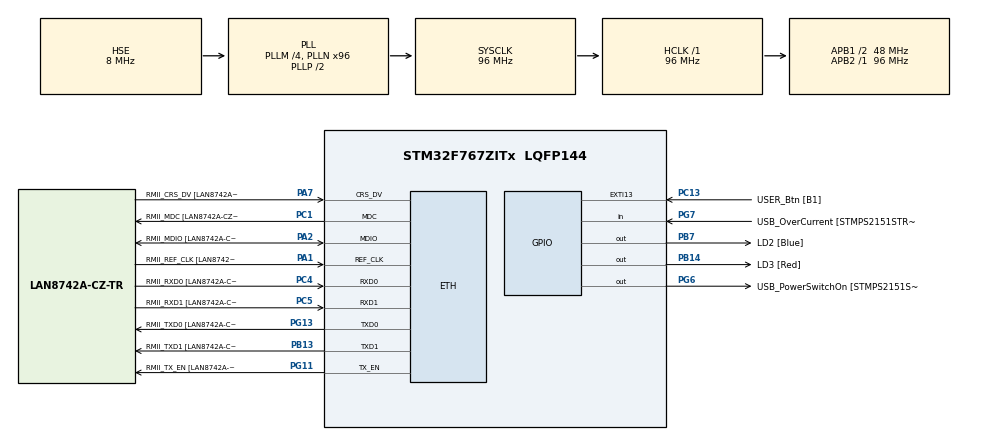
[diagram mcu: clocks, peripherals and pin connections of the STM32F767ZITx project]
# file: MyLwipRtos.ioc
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ETH.MediaInterface=HAL_ETH_RMII_MODE
FREERTOS.Tasks01=defaultTask,24,128,StartDefaultTask,Default,NULL,Dynamic,NULL,NULL
FREERTOS.configUSE_NEWLIB_REENTRANT=1
LWIP.BSP.number=1
LWIP.IP_ADDRESS=192.168.000.132
LWIP.LWIP_DHCP=0
LWIP.NETMASK_ADDRESS=255.255.255.000
LWIP.Version=v2.1.2_Cube
LWIP0.BSP.STBoard=false
LWIP0.BSP.api=BSP_COMPONENT_DRIVER
LWIP0.BSP.component=LAN8742
LWIP0.BSP.instance=LAN8742
LWIP0.BSP.name=Driver_PHY
LWIP0.BSP.semaphore=S_LAN8742
LWIP0.BSP.solution=LAN8742
Mcu.Family=STM32F7
Mcu.Name=STM32F767ZITx
Mcu.Package=LQFP144
NVIC.ETH_IRQn=true\:5\:0\:false\:false\:true\:true\:false\:true\:true
NVIC.PriorityGroup=NVIC_PRIORITYGROUP_4
NVIC.TIM6_DAC_IRQn=true\:15\:0\:false\:false\:true\:false\:false\:true\:true
NVIC.TimeBase=TIM6_DAC_IRQn
NVIC.TimeBaseIP=TIM6
PA1.GPIO_Label=RMII_REF_CLK [LAN8742A-CZ-TR_REFCLK0]
PA1.Mode=RMII
PA1.Signal=ETH_REF_CLK
PA10.GPIO_Label=USB_ID
PA10.Signal=USB_OTG_FS_ID
PA11.GPIO_Label=USB_DM
PA11.Signal=USB_OTG_FS_DM
PA12.GPIO_Label=USB_DP
PA12.Signal=USB_OTG_FS_DP
PA13.GPIO_Label=TMS
PA13.Mode=Serial_Wire
PA13.Signal=SYS_JTMS-SWDIO
PA14.GPIO_Label=TCK
PA14.Mode=Serial_Wire
PA14.Signal=SYS_JTCK-SWCLK
PA2.GPIO_Label=RMII_MDIO [LAN8742A-CZ-TR_MDIO]
PA2.Mode=RMII
PA2.Signal=ETH_MDIO
PA7.GPIO_Label=RMII_CRS_DV [LAN8742A-CZ-TR_CRS_DV]
PA7.Mode=RMII
PA7.Signal=ETH_CRS_DV
PA8.GPIO_Label=USB_SOF [TP1]
PA8.Signal=USB_OTG_FS_SOF
PA9.GPIO_Label=USB_VBUS
PA9.Signal=USB_OTG_FS_VBUS
PB13.GPIO_Label=RMII_TXD1 [LAN8742A-CZ-TR_TXD1]
PB13.Mode=RMII
PB13.Signal=ETH_TXD1
PB14.GPIO_Label=LD3 [Red]
PB14.Signal=GPIO_Output
PB3.GPIO_Label=SWO
PB3.Signal=SYS_JTDO-SWO
PB7.GPIO_Label=LD2 [Blue]
PB7.Signal=GPIO_Output
PC1.GPIO_Label=RMII_MDC [LAN8742A-CZ-TR_MDC]
PC1.Mode=RMII
PC1.Signal=ETH_MDC
PC13.GPIO_Label=USER_Btn [B1]
PC13.Signal=GPXTI13
PC14/OSC32_IN.Mode=LSE-External-Oscillator
PC14/OSC32_IN.Signal=RCC_OSC32_IN
PC15/OSC32_OUT.Mode=LSE-External-Oscillator
PC15/OSC32_OUT.Signal=RCC_OSC32_OUT
PC4.GPIO_Label=RMII_RXD0 [LAN8742A-CZ-TR_RXD0]
PC4.Mode=RMII
PC4.Signal=ETH_RXD0
PC5.GPIO_Label=RMII_RXD1 [LAN8742A-CZ-TR_RXD1]
PC5.Mode=RMII
PC5.Signal=ETH_RXD1
PD8.GPIO_Label=STLK_RX [STM32F103CBT6_PA3]
PD8.Signal=USART3_TX
PD9.GPIO_Label=STLK_TX [STM32F103CBT6_PA2]
PD9.Signal=USART3_RX
PG11.GPIO_Label=RMII_TX_EN [LAN8742A-CZ-TR_TXEN]
PG11.Mode=RMII
PG11.Signal=ETH_TX_EN
PG13.GPIO_Label=RMII_TXD0 [LAN8742A-CZ-TR_TXD0]
PG13.Mode=RMII
PG13.Signal=ETH_TXD0
PG6.GPIO_Label=USB_PowerSwitchOn [STMPS2151STR_EN]
PG6.Signal=GPIO_Output
PG7.GPIO_Label=USB_OverCurrent [STMPS2151STR_FAULT]
PG7.Signal=GPIO_Input
PH0/OSC_IN.GPIO_Label=MCO [STM32F103CBT6_PA8]
PH0/OSC_IN.Mode=HSE-External-Oscillator
PH0/OSC_IN.Signal=RCC_OSC_IN
PH1/OSC_OUT.Mode=HSE-External-Oscillator
PH1/OSC_OUT.Signal=RCC_OSC_OUT
ProjectManager.HeapSize=0x200
ProjectManager.StackSize=0x400
ProjectManager.TargetToolchain=STM32CubeIDE
RCC.48MHZClocksFreq_Value=24000000
RCC.AHBFreq_Value=96000000
RCC.APB1CLKDivider=RCC_HCLK_DIV2
RCC.APB1Freq_Value=48000000
RCC.APB1TimFreq_Value=96000000
RCC.APB2Freq_Value=96000000
RCC.APB2TimFreq_Value=96000000
RCC.CortexFreq_Value=96000000
RCC.HCLKFreq_Value=96000000
RCC.HSE_VALUE=8000000
RCC.HSI_VALUE=16000000
RCC.PLLM=4
RCC.PLLMUL=RCC_PLL_MUL9
RCC.PLLN=96
RCC.PLLQ=4
RCC.PLLSourceVirtual=RCC_PLLSOURCE_HSE
RCC.PRESCALERUSB=RCC_USBCLKSOURCE_PLL_DIV1_5
RCC.SYSCLKFreq_VALUE=96000000
RCC.SYSCLKSource=RCC_SYSCLKSOURCE_PLLCLK
RCC.SYSCLKSourceVirtual=RCC_SYSCLKSOURCE_PLLCLK
RCC.USBFreq_Value=48000000
RCC.VCOOutputFreq_Value=192000000
VP_FREERTOS_VS_CMSIS_V2.Mode=CMSIS_V2
VP_LWIP_VS_Enabled.Mode=Enabled
VP_SYS_VS_tim6.Mode=TIM6
board=NUCLEO-F767ZI

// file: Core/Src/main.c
/* USER CODE BEGIN Header */
/**
  ******************************************************************************
  * @file           : main.c
  * @brief          : Main program body
  ******************************************************************************
  * @attention
  *
  * Copyright (c) 2022 STMicroelectronics.
  * All rights reserved.
  *
  * This software is licensed under terms that can be found in the LICENSE file
  * in the root directory of this software component.
  * If no LICENSE file comes with this software, it is provided AS-IS.
  *
  ******************************************************************************
  */
/* USER CODE END Header */
#include "main.h"
#include "cmsis_os.h"
#include "lwip.h"

/* USER CODE BEGIN Includes */
#include <udp.h>
#include <string.h>
#include <SEGGER_SYSVIEW.h>

/* USER CODE END Includes */

/* USER CODE BEGIN PTD */
extern struct netif gnetif;
/* USER CODE END PTD */

/* Definitions for defaultTask */
osThreadId_t defaultTaskHandle;
const osThreadAttr_t defaultTask_attributes = {
  .name = "defaultTask",
  .stack_size = 128 * 4,
  .priority = (osPriority_t) osPriorityNormal,
};

void SystemClock_Config(void);
static void MX_GPIO_Init(void);
void StartDefaultTask(void *argument);

int main(void)
{

  /* MCU Configuration--------------------------------------------------------*/

  /* Reset of all peripherals, Initializes the Flash interface and the Systick. */
  HAL_Init();

  /* Configure the system clock */
  SystemClock_Config();

  /* Initialize all configured peripherals */
  MX_GPIO_Init();
  /* USER CODE BEGIN 2 */
  MX_LWIP_Init();
  SEGGER_SYSVIEW_Conf();
  /* USER CODE END 2 */

  /* Init scheduler */
  osKernelInitialize();

  /* Create the thread(s) */
  /* creation of defaultTask */
  defaultTaskHandle = osThreadNew(StartDefaultTask, NULL, &defaultTask_attributes);

  /* Start scheduler */
  osKernelStart();

  /* We should never get here as control is now taken by the scheduler */
  /* Infinite loop */
  while (1)
  {

  }
}

void SystemClock_Config(void)
{
  RCC_OscInitTypeDef RCC_OscInitStruct = {0};
  RCC_ClkInitTypeDef RCC_ClkInitStruct = {0};

  /** Configure LSE Drive Capability
  */
  HAL_PWR_EnableBkUpAccess();

  /** Configure the main internal regulator output voltage
  */
  __HAL_RCC_PWR_CLK_ENABLE();
  __HAL_PWR_VOLTAGESCALING_CONFIG(PWR_REGULATOR_VOLTAGE_SCALE3);

  /** Initializes the RCC Oscillators according to the specified parameters
  * in the RCC_OscInitTypeDef structure.
  */
  RCC_OscInitStruct.OscillatorType = RCC_OSCILLATORTYPE_HSE;
  RCC_OscInitStruct.HSEState = RCC_HSE_ON;
  RCC_OscInitStruct.PLL.PLLState = RCC_PLL_ON;
  RCC_OscInitStruct.PLL.PLLSource = RCC_PLLSOURCE_HSE;
  RCC_OscInitStruct.PLL.PLLM = 4;
  RCC_OscInitStruct.PLL.PLLN = 96;
  RCC_OscInitStruct.PLL.PLLP = RCC_PLLP_DIV2;
  RCC_OscInitStruct.PLL.PLLQ = 4;
  RCC_OscInitStruct.PLL.PLLR = 2;
  if (HAL_RCC_OscConfig(&RCC_OscInitStruct) != HAL_OK)
  {
    Error_Handler();
  }

  /** Activate the Over-Drive mode
  */
  if (HAL_PWREx_EnableOverDrive() != HAL_OK)
  {
    Error_Handler();
  }

  /** Initializes the CPU, AHB and APB buses clocks
  */
  RCC_ClkInitStruct.ClockType = RCC_CLOCKTYPE_HCLK|RCC_CLOCKTYPE_SYSCLK
                              |RCC_CLOCKTYPE_PCLK1|RCC_CLOCKTYPE_PCLK2;
  RCC_ClkInitStruct.SYSCLKSource = RCC_SYSCLKSOURCE_PLLCLK;
  RCC_ClkInitStruct.AHBCLKDivider = RCC_SYSCLK_DIV1;
  RCC_ClkInitStruct.APB1CLKDivider = RCC_HCLK_DIV2;
  RCC_ClkInitStruct.APB2CLKDivider = RCC_HCLK_DIV1;

  if (HAL_RCC_ClockConfig(&RCC_ClkInitStruct, FLASH_LATENCY_3) != HAL_OK)
  {
    Error_Handler();
  }
}

static void MX_GPIO_Init(void)
{
  GPIO_InitTypeDef GPIO_InitStruct = {0};

  /* GPIO Ports Clock Enable */
  __HAL_RCC_GPIOC_CLK_ENABLE();
  __HAL_RCC_GPIOH_CLK_ENABLE();
  __HAL_RCC_GPIOA_CLK_ENABLE();
  __HAL_RCC_GPIOB_CLK_ENABLE();
  __HAL_RCC_GPIOD_CLK_ENABLE();
  __HAL_RCC_GPIOG_CLK_ENABLE();

  /*Configure GPIO pin Output Level */
  HAL_GPIO_WritePin(GPIOB, LD3_Pin|LD2_Pin, GPIO_PIN_RESET);

  /*Configure GPIO pin Output Level */
  HAL_GPIO_WritePin(USB_PowerSwitchOn_GPIO_Port, USB_PowerSwitchOn_Pin, GPIO_PIN_RESET);

  /*Configure GPIO pin : USER_Btn_Pin */
  GPIO_InitStruct.Pin = USER_Btn_Pin;
  GPIO_InitStruct.Mode = GPIO_MODE_IT_RISING;
  GPIO_InitStruct.Pull = GPIO_NOPULL;
  HAL_GPIO_Init(USER_Btn_GPIO_Port, &GPIO_InitStruct);

  /*Configure GPIO pins : LD3_Pin LD2_Pin */
  GPIO_InitStruct.Pin = LD3_Pin|LD2_Pin;
  GPIO_InitStruct.Mode = GPIO_MODE_OUTPUT_PP;
  GPIO_InitStruct.Pull = GPIO_NOPULL;
  GPIO_InitStruct.Speed = GPIO_SPEED_FREQ_LOW;
  HAL_GPIO_Init(GPIOB, &GPIO_InitStruct);

  /*Configure GPIO pins : STLK_RX_Pin STLK_TX_Pin */
  GPIO_InitStruct.Pin = STLK_RX_Pin|STLK_TX_Pin;
  GPIO_InitStruct.Mode = GPIO_MODE_AF_PP;
  GPIO_InitStruct.Pull = GPIO_NOPULL;
  GPIO_InitStruct.Speed = GPIO_SPEED_FREQ_VERY_HIGH;
  GPIO_InitStruct.Alternate = GPIO_AF7_USART3;
  HAL_GPIO_Init(GPIOD, &GPIO_InitStruct);

  /*Configure GPIO pin : USB_PowerSwitchOn_Pin */
  GPIO_InitStruct.Pin = USB_PowerSwitchOn_Pin;
  GPIO_InitStruct.Mode = GPIO_MODE_OUTPUT_PP;
  GPIO_InitStruct.Pull = GPIO_NOPULL;
  GPIO_InitStruct.Speed = GPIO_SPEED_FREQ_LOW;
  HAL_GPIO_Init(USB_PowerSwitchOn_GPIO_Port, &GPIO_InitStruct);

  /*Configure GPIO pin : USB_OverCurrent_Pin */
  GPIO_InitStruct.Pin = USB_OverCurrent_Pin;
  GPIO_InitStruct.Mode = GPIO_MODE_INPUT;
  GPIO_InitStruct.Pull = GPIO_NOPULL;
  HAL_GPIO_Init(USB_OverCurrent_GPIO_Port, &GPIO_InitStruct);

  /*Configure GPIO pins : USB_SOF_Pin USB_ID_Pin USB_DM_Pin USB_DP_Pin */
  GPIO_InitStruct.Pin = USB_SOF_Pin|USB_ID_Pin|USB_DM_Pin|USB_DP_Pin;
  GPIO_InitStruct.Mode = GPIO_MODE_AF_PP;
  GPIO_InitStruct.Pull = GPIO_NOPULL;
  GPIO_InitStruct.Speed = GPIO_SPEED_FREQ_VERY_HIGH;
  GPIO_InitStruct.Alternate = GPIO_AF10_OTG_FS;
  HAL_GPIO_Init(GPIOA, &GPIO_InitStruct);

  /*Configure GPIO pin : USB_VBUS_Pin */
  GPIO_InitStruct.Pin = USB_VBUS_Pin;
  GPIO_InitStruct.Mode = GPIO_MODE_INPUT;
  GPIO_InitStruct.Pull = GPIO_NOPULL;
  HAL_GPIO_Init(USB_VBUS_GPIO_Port, &GPIO_InitStruct);

}

void StartDefaultTask(void *argument)
{
  /* init code for LWIP */
  /* USER CODE BEGIN 5 */
  const char* message = "Hello UDP message!\n\r";

  ip_addr_t PC_IPADDR;
  IP_ADDR4(&PC_IPADDR, 192, 168, 0, 236);

  struct udp_pcb* my_udp = udp_new();
  udp_connect(my_udp, &PC_IPADDR, 62510);
  struct pbuf* udp_buffer = NULL;  /* Infinite loop */

  for(;;)
  {
	ethernetif_input(&gnetif);
	  osDelay(1000);
	/* !! PBUF_RAM is critical for correct operation !! */
	udp_buffer = pbuf_alloc(PBUF_TRANSPORT, strlen(message), PBUF_RAM);

	if (udp_buffer != NULL) {
	  memcpy(udp_buffer->payload, message, strlen(message));
	  udp_send(my_udp, udp_buffer);
	  pbuf_free(udp_buffer);
	}
  }
  /* USER CODE END 5 */
}

void HAL_TIM_PeriodElapsedCallback(TIM_HandleTypeDef *htim)
{
  if (htim->Instance == TIM6) {
    HAL_IncTick();
  }
}

void Error_Handler(void)
{
  __disable_irq();
  while (1)
  {
  }
}
